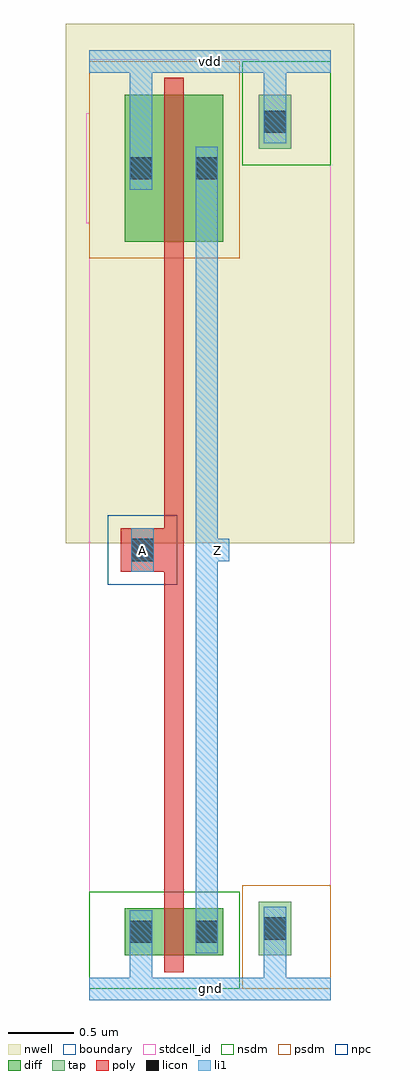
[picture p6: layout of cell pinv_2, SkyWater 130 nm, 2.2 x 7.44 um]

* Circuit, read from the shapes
.subckt pinv_2 A Z gnd vdd
XM1 Z A gnd gnd sky130_fd_pr__nfet_01v8 w=0.36 l=0.15
XM2 Z A vdd vdd sky130_fd_pr__pfet_01v8 w=1.12 l=0.15
.ends

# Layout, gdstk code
import gdstk
lib = gdstk.Library(unit=1e-6, precision=1e-09)
def R(c, l, rs):  # rectangles x0, y0, x1, y1
    for r in rs: c.add(gdstk.rectangle(r[:2], r[2:], *l))
nwell = (64, 20)
diff = (65, 20)
tap = (65, 44)
poly = (66, 20)
licon = (66, 44)
li1 = (67, 20)
stdcell_id = (81, 4)
nsdm = (93, 44)
psdm = (94, 20)
npc = (95, 20)
boundary = (235, 4)

contact_11 = lib.new_cell('contact_11')
R(contact_11, nwell, [(-0.295,-0.255,0.545,0.585)])
R(contact_11, diff, [(0,0.02,0.25,0.31)])
R(contact_11, licon, [(0.04,0.08,0.21,0.25)])
R(contact_11, li1, [(0.04,0,0.21,0.33)])
R(contact_11, stdcell_id, [(-0.295,-0.255,0.545,0.585)])
R(contact_11, psdm, [(-0.125,-0.105,0.375,0.435)])
R(contact_11, boundary, [(-0.295,-0.255,0.545,0.585)])

pmos_m1_w1_120_sli_dli_d = lib.new_cell('pmos_m1_w1_120_sli_dli_da_p')
R(pmos_m1_w1_120_sli_dli_d, nwell, [(-0.27,-0.27,1.02,1.39)])
R(pmos_m1_w1_120_sli_dli_d, diff, [(0,0,0.75,1.12)])
R(pmos_m1_w1_120_sli_dli_d, poly, [(0.3,-0.13,0.45,1.25), (0.3,-0.13,0.45,1.25)])
R(pmos_m1_w1_120_sli_dli_d, li1, [(0.04,0.395,0.21,0.725), (0.54,0.395,0.71,0.725)])
R(pmos_m1_w1_120_sli_dli_d, stdcell_id, [(-0.27,-0.27,1.02,1.39)])
R(pmos_m1_w1_120_sli_dli_d, psdm, [(-0.125,-0.125,0.875,1.245)])
R(pmos_m1_w1_120_sli_dli_d, boundary, [(-0.27,-0.27,1.02,1.39)])
pmos_m1_w1_120_sli_dli_d.add(gdstk.Reference(contact_11, (0,0.395)))
pmos_m1_w1_120_sli_dli_d.add(gdstk.Reference(contact_11, (0.5,0.395)))
pmos_m1_w1_120_sli_dli_d.add(gdstk.Label('S', (0.125,0.56), layer=67, texttype=16))
pmos_m1_w1_120_sli_dli_d.add(gdstk.Label('G', (0.375,0.56), layer=66, texttype=16))
pmos_m1_w1_120_sli_dli_d.add(gdstk.Label('D', (0.625,0.56), layer=67, texttype=16))

contact_17 = lib.new_cell('contact_17')
R(contact_17, diff, [(0,0.02,0.25,0.31)])
R(contact_17, licon, [(0.04,0.08,0.21,0.25)])
R(contact_17, li1, [(0.04,0,0.21,0.33)])
R(contact_17, stdcell_id, [(-0.125,-0.105,0.375,0.435)])
R(contact_17, nsdm, [(-0.125,-0.105,0.375,0.435)])
R(contact_17, boundary, [(-0.125,-0.105,0.375,0.435)])

nmos_m1_w0_360_sli_dli_d = lib.new_cell('nmos_m1_w0_360_sli_dli_da_p')
R(nmos_m1_w0_360_sli_dli_d, diff, [(0,0,0.75,0.36)])
R(nmos_m1_w0_360_sli_dli_d, poly, [(0.3,-0.13,0.45,0.49), (0.3,-0.13,0.45,0.49)])
R(nmos_m1_w0_360_sli_dli_d, li1, [(0.04,0.015,0.21,0.345), (0.54,0.015,0.71,0.345)])
R(nmos_m1_w0_360_sli_dli_d, stdcell_id, [(-0.125,-0.13,0.875,0.49)])
R(nmos_m1_w0_360_sli_dli_d, nsdm, [(-0.125,-0.125,0.875,0.485)])
R(nmos_m1_w0_360_sli_dli_d, boundary, [(-0.125,-0.13,0.875,0.49)])
nmos_m1_w0_360_sli_dli_d.add(gdstk.Reference(contact_17, (0,0.015)))
nmos_m1_w0_360_sli_dli_d.add(gdstk.Reference(contact_17, (0.5,0.015)))
nmos_m1_w0_360_sli_dli_d.add(gdstk.Label('S', (0.125,0.18), layer=67, texttype=16))
nmos_m1_w0_360_sli_dli_d.add(gdstk.Label('G', (0.375,0.18), layer=66, texttype=16))
nmos_m1_w0_360_sli_dli_d.add(gdstk.Label('D', (0.625,0.18), layer=67, texttype=16))

contact_24 = lib.new_cell('contact_24')
R(contact_24, nwell, [(-0.295,-0.215,0.545,0.625)])
R(contact_24, tap, [(0,0,0.25,0.41)])
R(contact_24, licon, [(0.04,0.12,0.21,0.29)])
R(contact_24, li1, [(0.04,0.04,0.21,0.37)])
R(contact_24, stdcell_id, [(-0.295,-0.215,0.545,0.625)])
R(contact_24, nsdm, [(-0.125,-0.125,0.375,0.535)])
R(contact_24, boundary, [(-0.295,-0.215,0.545,0.625)])

contact_25 = lib.new_cell('contact_25')
R(contact_25, tap, [(0,0,0.25,0.41)])
R(contact_25, licon, [(0.04,0.12,0.21,0.29)])
R(contact_25, li1, [(0.04,0.04,0.21,0.37)])
R(contact_25, stdcell_id, [(-0.125,-0.125,0.375,0.535)])
R(contact_25, psdm, [(-0.125,-0.125,0.375,0.535)])
R(contact_25, boundary, [(-0.125,-0.125,0.375,0.535)])

contact_12 = lib.new_cell('contact_12')
R(contact_12, poly, [(0,0,0.33,0.33)])
R(contact_12, licon, [(0.08,0.08,0.25,0.25)])
R(contact_12, li1, [(0.08,0,0.25,0.33)])
R(contact_12, stdcell_id, [(-0.1,-0.1,0.43,0.43)])
R(contact_12, npc, [(-0.1,-0.1,0.43,0.43)])
R(contact_12, boundary, [(-0.1,-0.1,0.43,0.43)])

pinv_2 = lib.new_cell('pinv_2')
R(pinv_2, nwell, [(-0.18,3.395,2.02,7.355)])
R(pinv_2, poly, [(0.57,0.745,0.72,5.565), (0.405,3.18,0.57,3.51)])
R(pinv_2, li1, [(0,-0.085,1.84,0.085), (0.31,-0.085,0.48,0.27), (1.33,0,1.5,0.46), (0.81,0.27,0.98,6.42), (0.32,3.18,0.49,3.51), (0.895,3.26,1.065,3.43), (0.31,6.09,0.48,7.155), (1.33,6.61,1.5,7.07), (0,6.985,1.84,7.155)])
R(pinv_2, stdcell_id, [(0,0,1.84,7.07), (0,0,1.84,7.07)])
R(pinv_2, nsdm, [(0,0,1.145,0.74), (1.165,6.28,1.84,7.07)])
R(pinv_2, psdm, [(1.165,0,1.84,0.79), (0,5.57,1.145,7.07)])
R(pinv_2, boundary, [(0,0,1.84,7.07), (0,0,1.84,7.07)])
pinv_2.add(gdstk.Reference(pmos_m1_w1_120_sli_dli_d, (0.27,5.695)))
pinv_2.add(gdstk.Reference(nmos_m1_w0_360_sli_dli_d, (0.27,0.255)))
pinv_2.add(gdstk.Reference(contact_24, (1.29,6.405)))
pinv_2.add(gdstk.Reference(contact_25, (1.29,0.255)))
pinv_2.add(gdstk.Reference(contact_12, (0.24,3.18)))
pinv_2.add(gdstk.Label('gnd', (0.92,0), layer=67, texttype=16))
pinv_2.add(gdstk.Label('Z', (0.98,3.345), layer=67, texttype=16))
pinv_2.add(gdstk.Label('vdd', (0.92,7.07), layer=67, texttype=16))
pinv_2.add(gdstk.Label('A', (0.405,3.345), layer=67, texttype=16))

lib.write_gds('pinv_2.gds')
